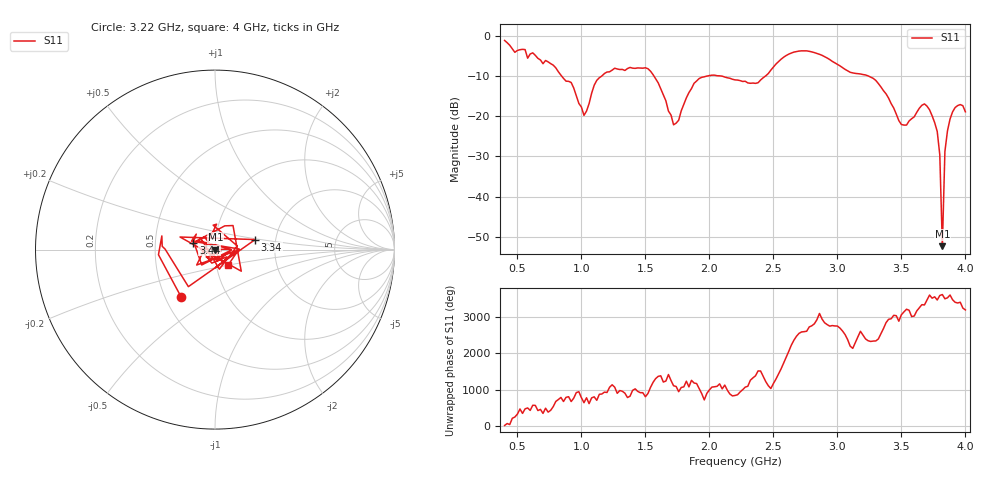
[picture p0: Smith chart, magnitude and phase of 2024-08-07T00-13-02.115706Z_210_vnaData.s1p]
!Created with skrf (http://scikit-rf.org).
# Hz S RI R 50.0
!freq ReS11 ImS11
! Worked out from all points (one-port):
!   181 points, 400 MHz to 4 GHz, reference 50 ohm
!   lowest |S11| = -52.3 dB at 3.82 GHz (marker M1), VSWR 1.00, Z = 50.2 + j0.0493 ohm
!   |S11| at or under -10 dB: 1.566 GHz to 1.988 GHz (421.7 MHz wide, 23.7 % of centre); 2.084 GHz to 2.44 GHz (355.6 MHz wide, 15.7 % of centre); 3.24 GHz to end of sweep (the widest 3 of 4)
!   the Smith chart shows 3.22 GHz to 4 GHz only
!   S11 on the Smith chart (normalised r, x): 3.22 GHz: 0.60, -0.36; 3.34 GHz: 1.56, +0.18; 3.44 GHz: 0.78, +0.06; 4 GHz: 1.14, -0.20
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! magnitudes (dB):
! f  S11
! 400 MHz  -1.2
! 860 MHz  -10.6
! 920 MHz  -11.6
! 1.02 GHz  -19.8
! 1.12 GHz  -11.1
! 1.3 GHz  -8.4
! 1.52 GHz  -8.2
! 1.6 GHz  -11.7
! 1.72 GHz  -22.1
! 1.76 GHz  -21.0
! 1.92 GHz  -10.7
! 2.2 GHz  -11.0
! 2.38 GHz  -11.7
! 2.66 GHz  -4.1
! 3.1 GHz  -9.1
! 3.22 GHz  -9.8
! 3.34 GHz  -12.7
! 3.44 GHz  -18.0
! 3.5 GHz  -22.1
! 3.56 GHz  -21.2
! 3.68 GHz  -17.0
! 3.78 GHz  -23.8
! 3.8 GHz  -29.6
! 3.82 GHz  -52.3
! 3.84 GHz  -28.8
! 3.86 GHz  -23.7
! 3.92 GHz  -17.9
! 4 GHz  -18.9
